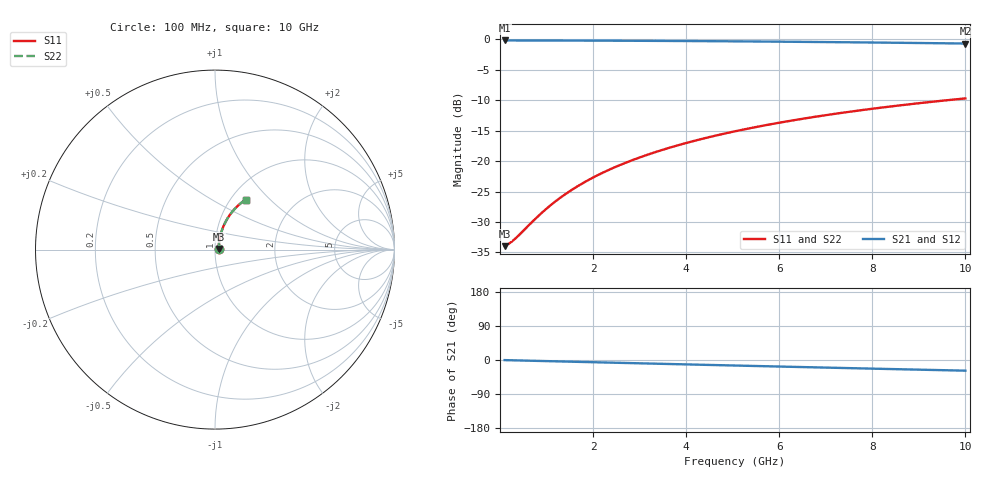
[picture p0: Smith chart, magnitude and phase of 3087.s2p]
# Hz S RI R 50.00
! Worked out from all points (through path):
!   100 points, 100 MHz to 10 GHz, reference 50 ohm
!   highest |S21| = -0.17 dB at 100 MHz (marker M1); lowest = -0.7 dB at 10 GHz (marker M2)
!   group delay of S21, straight-line fit = 7.84 ps
!   lowest |S11| = -34.0 dB at 100 MHz (marker M3), VSWR 1.04, Z = 52 + j0.357 ohm
!   |S11| at or under -10 dB: start of sweep to 9.595 GHz
!   |S22| runs from -34.0 to -9.7 dB; largest |S21 - S12| = 0
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1e8  0.0197 0.00343  0.9803 -0.00499  0.9803 -0.00499  0.0197 0.00343
2e8  0.0199 0.00687  0.9801 -0.00998  0.9801 -0.00998  0.0199 0.00687
3e8  0.0201 0.0103  0.9799 -0.015  0.9799 -0.015  0.0201 0.0103
4e8  0.0203 0.0137  0.9797 -0.02  0.9797 -0.02  0.0203 0.0137
8e8  0.0214 0.0274  0.9786 -0.0399  0.9786 -0.0399  0.0214 0.0274
1.1e9  0.0225 0.0376  0.9774 -0.0548  0.9774 -0.0548  0.0225 0.0376
1.4e9  0.0239 0.0478  0.9759 -0.0696  0.9759 -0.0696  0.0239 0.0478
1.6e9  0.025 0.0545  0.9747 -0.0795  0.9747 -0.0795  0.025 0.0545
1.8e9  0.0262 0.0613  0.9734 -0.0893  0.9734 -0.0893  0.0262 0.0613
2.1e9  0.0283 0.0713  0.9711 -0.104  0.9711 -0.104  0.0283 0.0713
2.5e9  0.0315 0.0845  0.9676 -0.1235  0.9676 -0.1235  0.0315 0.0845
2.9e9  0.0353 0.0976  0.9636 -0.1428  0.9636 -0.1428  0.0353 0.0976
3.4e9  0.0407 0.1136  0.9578 -0.1666  0.9578 -0.1666  0.0407 0.1136
3.8e9  0.0456 0.1262  0.9525 -0.1855  0.9525 -0.1855  0.0456 0.1262
4.2e9  0.051 0.1385  0.9468 -0.2041  0.9468 -0.2041  0.051 0.1385
4.6e9  0.0568 0.1506  0.9405 -0.2224  0.9405 -0.2224  0.0568 0.1506
5.1e9  0.0648 0.1653  0.932 -0.2449  0.932 -0.2449  0.0648 0.1653
5.9e9  0.0788 0.1877  0.9168 -0.28  0.9168 -0.28  0.0788 0.1877
6.7e9  0.0944 0.2088  0.8999 -0.3136  0.8999 -0.3136  0.0944 0.2088
7.5e9  0.1115 0.2283  0.8815 -0.3458  0.8815 -0.3458  0.1115 0.2283
8.4e9  0.1321 0.2485  0.859 -0.3802  0.859 -0.3802  0.1321 0.2485
1e10  0.1718 0.279  0.8156 -0.4362  0.8156 -0.4362  0.1718 0.279
